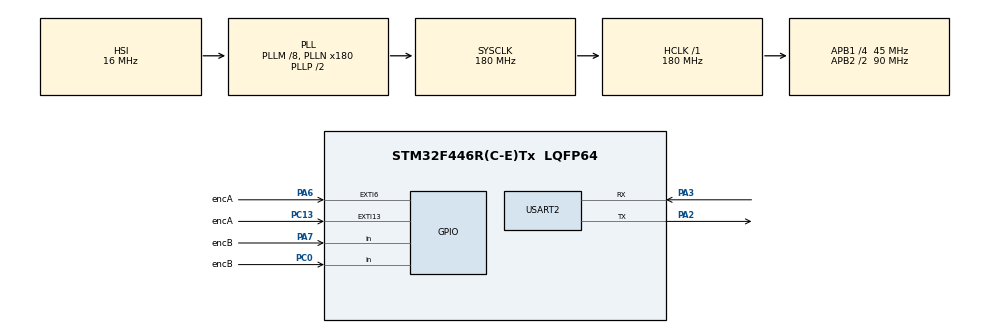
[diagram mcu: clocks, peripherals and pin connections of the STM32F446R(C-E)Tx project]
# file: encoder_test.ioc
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Mcu.Family=STM32F4
Mcu.Name=STM32F446R(C-E)Tx
Mcu.Package=LQFP64
NVIC.EXTI15_10_IRQn=true\:0\:0\:false\:false\:true\:true\:true\:true
NVIC.EXTI9_5_IRQn=true\:0\:0\:false\:false\:true\:true\:true\:true
NVIC.PriorityGroup=NVIC_PRIORITYGROUP_4
PA2.Mode=Asynchronous
PA2.Signal=USART2_TX
PA3.Mode=Asynchronous
PA3.Signal=USART2_RX
PA6.GPIO_Label=encA
PA6.GPIO_PuPd=GPIO_PULLUP
PA6.Signal=GPXTI6
PA7.GPIO_Label=encB
PA7.GPIO_PuPd=GPIO_PULLUP
PA7.Signal=GPIO_Input
PC0.GPIO_Label=encB
PC0.GPIO_PuPd=GPIO_PULLUP
PC0.Signal=GPIO_Input
PC13.GPIO_Label=encA
PC13.GPIO_PuPd=GPIO_PULLDOWN
PC13.Signal=GPXTI13
ProjectManager.HeapSize=0x200
ProjectManager.StackSize=0x400
ProjectManager.TargetToolchain=STM32CubeIDE
RCC.AHBFreq_Value=180000000
RCC.APB1CLKDivider=RCC_HCLK_DIV4
RCC.APB1Freq_Value=45000000
RCC.APB1TimFreq_Value=90000000
RCC.APB2CLKDivider=RCC_HCLK_DIV2
RCC.APB2Freq_Value=90000000
RCC.APB2TimFreq_Value=180000000
RCC.CortexFreq_Value=180000000
RCC.HCLKFreq_Value=180000000
RCC.PLLM=8
RCC.PLLN=180
RCC.SYSCLKFreq_VALUE=180000000
RCC.SYSCLKSource=RCC_SYSCLKSOURCE_PLLCLK
RCC.USBFreq_Value=180000000
RCC.VCOOutputFreq_Value=360000000
USART2.VirtualMode=VM_ASYNC
board=custom

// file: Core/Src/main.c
/* USER CODE BEGIN Header */
/**
  ******************************************************************************
  * @file           : main.c
  * @brief          : Main program body
  ******************************************************************************
  * @attention
  *
  * Copyright (c) 2026 STMicroelectronics.
  * All rights reserved.
  *
  * This software is licensed under terms that can be found in the LICENSE file
  * in the root directory of this software component.
  * If no LICENSE file comes with this software, it is provided AS-IS.
  *
  ******************************************************************************
  */
/* USER CODE END Header */
#include "main.h"

/* USER CODE BEGIN Includes */
#include<stdio.h>
/* USER CODE END Includes */

UART_HandleTypeDef huart2;

void SystemClock_Config(void);
static void MX_GPIO_Init(void);
static void MX_USART2_UART_Init(void);

/* USER CODE BEGIN 0 */

uint32_t count=0;
uint32_t lastcount=0;
void HAL_GPIO_EXTI_Callback(uint16_t GPIO_Pin){
	if(GPIO_Pin==encAA6_Pin){
		if(HAL_GPIO_ReadPin(encBA7_GPIO_Port, encBA7_Pin)==1){
			count++;
		}
		else{
			count--;
		}
	}
}

// Send printf to uart1
int _write(int fd, char* ptr, int len) {
	HAL_StatusTypeDef hstatus;

	if (fd == 1 || fd == 2) {
		hstatus = HAL_UART_Transmit(&huart2, (uint8_t *) ptr, len, HAL_MAX_DELAY);
		if (hstatus == HAL_OK)
			return len;
		else
			return -1;
	}
	return -1;
}
/* USER CODE END 0 */

int main(void)
{

  /* MCU Configuration--------------------------------------------------------*/

  /* Reset of all peripherals, Initializes the Flash interface and the Systick. */
  HAL_Init();

  /* Configure the system clock */
  SystemClock_Config();

  /* Initialize all configured peripherals */
  MX_GPIO_Init();
  MX_USART2_UART_Init();

  /* Infinite loop */
  /* USER CODE BEGIN WHILE */
  while (1)
  {
	  printf("count %d\r\n",count);
    /* USER CODE END WHILE */

  }
}

void SystemClock_Config(void)
{
  RCC_OscInitTypeDef RCC_OscInitStruct = {0};
  RCC_ClkInitTypeDef RCC_ClkInitStruct = {0};

  /** Configure the main internal regulator output voltage
  */
  __HAL_RCC_PWR_CLK_ENABLE();
  __HAL_PWR_VOLTAGESCALING_CONFIG(PWR_REGULATOR_VOLTAGE_SCALE1);

  /** Initializes the RCC Oscillators according to the specified parameters
  * in the RCC_OscInitTypeDef structure.
  */
  RCC_OscInitStruct.OscillatorType = RCC_OSCILLATORTYPE_HSI;
  RCC_OscInitStruct.HSIState = RCC_HSI_ON;
  RCC_OscInitStruct.HSICalibrationValue = RCC_HSICALIBRATION_DEFAULT;
  RCC_OscInitStruct.PLL.PLLState = RCC_PLL_ON;
  RCC_OscInitStruct.PLL.PLLSource = RCC_PLLSOURCE_HSI;
  RCC_OscInitStruct.PLL.PLLM = 8;
  RCC_OscInitStruct.PLL.PLLN = 180;
  RCC_OscInitStruct.PLL.PLLP = RCC_PLLP_DIV2;
  RCC_OscInitStruct.PLL.PLLQ = 2;
  RCC_OscInitStruct.PLL.PLLR = 2;
  if (HAL_RCC_OscConfig(&RCC_OscInitStruct) != HAL_OK)
  {
    Error_Handler();
  }

  /** Activate the Over-Drive mode
  */
  if (HAL_PWREx_EnableOverDrive() != HAL_OK)
  {
    Error_Handler();
  }

  /** Initializes the CPU, AHB and APB buses clocks
  */
  RCC_ClkInitStruct.ClockType = RCC_CLOCKTYPE_HCLK|RCC_CLOCKTYPE_SYSCLK
                              |RCC_CLOCKTYPE_PCLK1|RCC_CLOCKTYPE_PCLK2;
  RCC_ClkInitStruct.SYSCLKSource = RCC_SYSCLKSOURCE_PLLCLK;
  RCC_ClkInitStruct.AHBCLKDivider = RCC_SYSCLK_DIV1;
  RCC_ClkInitStruct.APB1CLKDivider = RCC_HCLK_DIV4;
  RCC_ClkInitStruct.APB2CLKDivider = RCC_HCLK_DIV2;

  if (HAL_RCC_ClockConfig(&RCC_ClkInitStruct, FLASH_LATENCY_5) != HAL_OK)
  {
    Error_Handler();
  }
}

static void MX_USART2_UART_Init(void)
{

  huart2.Instance = USART2;
  huart2.Init.BaudRate = 115200;
  huart2.Init.WordLength = UART_WORDLENGTH_8B;
  huart2.Init.StopBits = UART_STOPBITS_1;
  huart2.Init.Parity = UART_PARITY_NONE;
  huart2.Init.Mode = UART_MODE_TX_RX;
  huart2.Init.HwFlowCtl = UART_HWCONTROL_NONE;
  huart2.Init.OverSampling = UART_OVERSAMPLING_16;
  if (HAL_UART_Init(&huart2) != HAL_OK)
  {
    Error_Handler();
  }

}

static void MX_GPIO_Init(void)
{
  GPIO_InitTypeDef GPIO_InitStruct = {0};

  /* GPIO Ports Clock Enable */
  __HAL_RCC_GPIOC_CLK_ENABLE();
  __HAL_RCC_GPIOA_CLK_ENABLE();

  /*Configure GPIO pin : encA_Pin */
  GPIO_InitStruct.Pin = encA_Pin;
  GPIO_InitStruct.Mode = GPIO_MODE_IT_RISING;
  GPIO_InitStruct.Pull = GPIO_PULLDOWN;
  HAL_GPIO_Init(encA_GPIO_Port, &GPIO_InitStruct);

  /*Configure GPIO pin : encB_Pin */
  GPIO_InitStruct.Pin = encB_Pin;
  GPIO_InitStruct.Mode = GPIO_MODE_INPUT;
  GPIO_InitStruct.Pull = GPIO_PULLUP;
  HAL_GPIO_Init(encB_GPIO_Port, &GPIO_InitStruct);

  /*Configure GPIO pin : encAA6_Pin */
  GPIO_InitStruct.Pin = encAA6_Pin;
  GPIO_InitStruct.Mode = GPIO_MODE_IT_RISING;
  GPIO_InitStruct.Pull = GPIO_PULLUP;
  HAL_GPIO_Init(encAA6_GPIO_Port, &GPIO_InitStruct);

  /*Configure GPIO pin : encBA7_Pin */
  GPIO_InitStruct.Pin = encBA7_Pin;
  GPIO_InitStruct.Mode = GPIO_MODE_INPUT;
  GPIO_InitStruct.Pull = GPIO_PULLUP;
  HAL_GPIO_Init(encBA7_GPIO_Port, &GPIO_InitStruct);

  /* EXTI interrupt init*/
  HAL_NVIC_SetPriority(EXTI9_5_IRQn, 0, 0);
  HAL_NVIC_EnableIRQ(EXTI9_5_IRQn);

  HAL_NVIC_SetPriority(EXTI15_10_IRQn, 0, 0);
  HAL_NVIC_EnableIRQ(EXTI15_10_IRQn);

}

void Error_Handler(void)
{
  __disable_irq();
  while (1)
  {
  }
}
